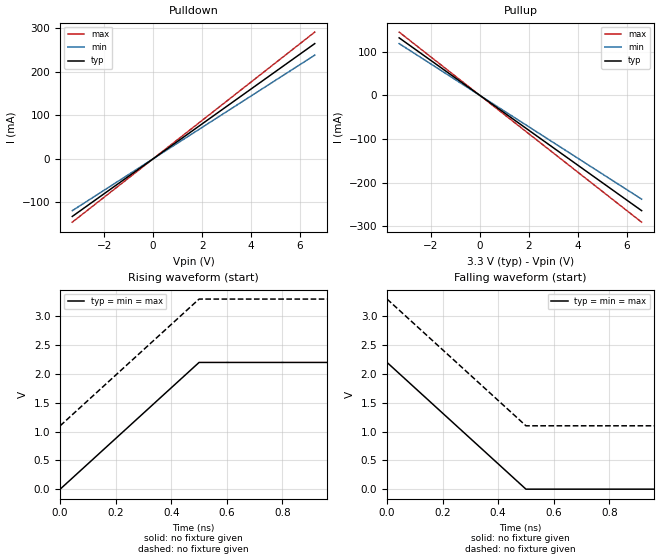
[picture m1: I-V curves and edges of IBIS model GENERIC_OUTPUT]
[IBIS Ver]   5.0
[File Name]   generic_25ohm.ibs
[File Rev]   1.0
[Date]   2026-07-12
[Source]   Synthetic self-consistent model for si-prelayout tests
[Notes]   Ron=25.0 ohm. Currents use IBIS into-buffer sign convention.
[Disclaimer]   For open-source SI tool development only.
[Component]   GENERIC
[Manufacturer] si-prelayout
[Pin]   signal_name   model_name
1   DQ   GENERIC_OUTPUT
2   DQ_IN   GENERIC_INPUT
[Model]   GENERIC_INPUT
Model_type   Input
C_comp   1.5pF   1.0pF   2.0pF
[Voltage Range] 3.3   3.0   3.6
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| Models and submodels in the file (2): GENERIC_OUTPUT (Output), GENERIC_INPUT (Input)
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[Model]   GENERIC_OUTPUT
Model_type   Output
Polarity   Non-Inverting
C_comp   2.0pF   1.5pF   2.5pF
[Voltage Range] 3.3   3.0   3.6
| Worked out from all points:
|   slope of the pulldown table from 0 to 0.495 V, typ, clamps not added: 25 ohm
|   slope of the pullup table from 0 to 0.495 V, typ, clamps not added: 25 ohm
|   rising waveform, no fixture given: 20-80 % time 300ps typ, 300ps min, 300ps max; typ from 0 V to 2.2 V
|   rising waveform, no fixture given: 20-80 % time 300ps typ, 300ps min, 300ps max; typ from 1.1 V to 3.3 V
|   falling waveform, no fixture given: 20-80 % time 300ps typ, 300ps min, 300ps max; typ from 2.2 V to 0 V
|   falling waveform, no fixture given: 20-80 % time 300ps typ, 300ps min, 300ps max; typ from 3.3 V to 1.1 V
[Pulldown]
-3.3V     -132mA     -118.8mA   -145.2mA
-3.176V   -127mA     -114.3mA   -139.8mA
-2.929V   -117.2mA   -105.4mA   -128.9mA
6.6V      264mA      237.6mA    290.4mA
[Pullup]
-3.3V     132mA      118.8mA    145.2mA
-3.176V   127mA      114.3mA    139.8mA
-2.929V   117.2mA    105.4mA    128.9mA
6.6V      -264mA     -237.6mA   -290.4mA
[Gnd Clamp]
-3.3V     0A         0A         0A
-3.176V   0A         0A         0A
-3.053V   0A         0A         0A
6.6V      0A         0A         0A
[Power Clamp]
-3.3V     0A         0A         0A
-3.176V   0A         0A         0A
-3.053V   0A         0A         0A
6.6V      0A         0A         0A
[Rising Waveform]
R_fixture   50.0
V_fixture   0.0
0s        0V         0V         0V
490ps     2.156V     2.156V     2.156V
500ps     2.2V       2.2V       2.2V
2ns       2.2V       2.2V       2.2V
[Rising Waveform]
R_fixture   50.0
V_fixture   3.3
0s        1.1V       1.1V       1.1V
220ps     2.068V     2.068V     2.068V
500ps     3.3V       3.3V       3.3V
2ns       3.3V       3.3V       3.3V
[Falling Waveform]
R_fixture   50.0
V_fixture   0.0
0s        2.2V       2.2V       2.2V
490ps     44mV       44mV       44mV
500ps     0V         0V         0V
2ns       0V         0V         0V
[Falling Waveform]
R_fixture   50.0
V_fixture   3.3
0s        3.3V       3.3V       3.3V
490ps     1.144V     1.144V     1.144V
500ps     1.1V       1.1V       1.1V
2ns       1.1V       1.1V       1.1V
[Ramp]
dV/dt_r   2.0/0.4n   1.5/0.5n   2.5/0.3n
dV/dt_f   2.0/0.4n   1.5/0.5n   2.5/0.3n
R_load   50
